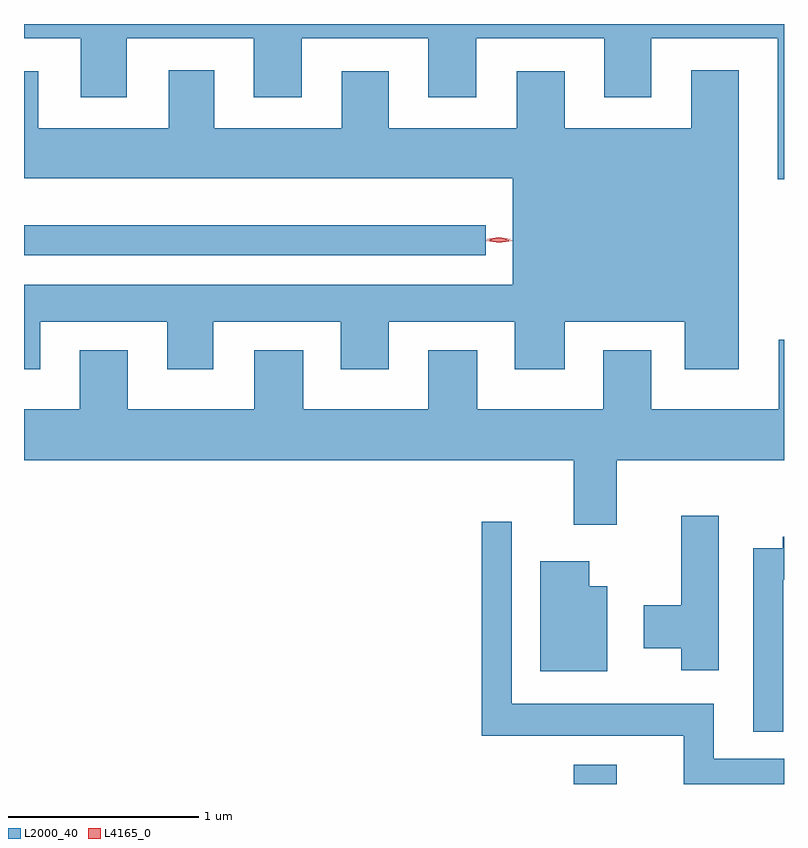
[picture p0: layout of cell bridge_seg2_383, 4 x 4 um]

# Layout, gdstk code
import gdstk
lib = gdstk.Library(unit=1e-6, precision=1e-09)
def R(c, l, rs):  # rectangles x0, y0, x1, y1
    for r in rs: c.add(gdstk.rectangle(r[:2], r[2:], *l))
def P(c, l, *ps):  # polygons
    for p in ps: c.add(gdstk.Polygon(p, *l))
L2000_40 = (2000, 40)
L4165_0 = (4165, 0)

bridge_seg2_383 = lib.new_cell('bridge_seg2_383')
R(bridge_seg2_383, L2000_40, [(631.351,1035.512,631.579,1035.614), (628.458,1038.296,630.888,1038.454)])
P(bridge_seg2_383, L2000_40, [(632.458,1039.512),(628.458,1039.512),(628.458,1039.436),(628.756,1039.436),(628.756,1039.126),(628.999,1039.126),(628.999,1039.436),(629.666,1039.436),(629.666,1039.126),(629.919,1039.126),(629.919,1039.436),(630.586,1039.436),(630.586,1039.126),(630.839,1039.126),(630.839,1039.436),(631.511,1039.436),(631.511,1039.126),(631.759,1039.126),(631.759,1039.436),(632.426,1039.436),(632.426,1038.696),(632.458,1038.696)],
  [(628.544,1037.946),(629.211,1037.946),(629.211,1037.696),(629.454,1037.696),(629.454,1037.946),(630.126,1037.946),(630.126,1037.696),(630.379,1037.696),(630.379,1037.946),(631.041,1037.946),(631.041,1037.696),(631.304,1037.696),(631.304,1037.946),(631.936,1037.946),(631.936,1037.696),(632.219,1037.696),(632.219,1039.269),(631.971,1039.269),(631.971,1038.964),(631.304,1038.964),(631.304,1039.264),(631.051,1039.264),(631.051,1038.964),(630.379,1038.964),(630.379,1039.264),(630.131,1039.264),(630.131,1038.964),(629.459,1038.964),(629.459,1039.269),(629.221,1039.269),(629.221,1038.964),(628.534,1038.964),(628.534,1039.264),(628.458,1039.264),(628.458,1038.701),(631.031,1038.701),(631.031,1038.139),(628.458,1038.139),(628.458,1037.696),(628.544,1037.696)],
  [(631.579,1037.216),(632.458,1037.216),(632.458,1037.849),(632.431,1037.849),(632.431,1037.484),(631.759,1037.484),(631.759,1037.794),(631.506,1037.794),(631.506,1037.484),(630.844,1037.484),(630.844,1037.794),(630.586,1037.794),(630.586,1037.484),(629.929,1037.484),(629.929,1037.794),(629.671,1037.794),(629.671,1037.484),(629.004,1037.484),(629.004,1037.794),(628.751,1037.794),(628.751,1037.484),(628.458,1037.484),(628.458,1037.216),(631.351,1037.216),(631.351,1036.876),(631.579,1036.876)],
  [(632.114,1036.924),(631.916,1036.924),(631.916,1036.454),(631.721,1036.454),(631.721,1036.226),(631.916,1036.226),(631.916,1036.111),(632.114,1036.111)],
  [(632.458,1035.644),(632.089,1035.644),(632.089,1035.934),(631.024,1035.934),(631.024,1036.892),(630.866,1036.892),(630.866,1035.766),(631.931,1035.766),(631.931,1035.512),(632.458,1035.512)],
  [(632.454,1036.586),(632.458,1036.586),(632.458,1036.814),(632.451,1036.814),(632.451,1036.754),(632.296,1036.754),(632.296,1035.787),(632.454,1035.787)],
  [(631.529,1036.554),(631.434,1036.554),(631.434,1036.684),(631.176,1036.684),(631.176,1036.106),(631.529,1036.106)])
P(bridge_seg2_383, L4165_0, [(630.956,1038.37),(630.894,1038.379),(630.893,1038.379),(630.894,1038.38),(630.956,1038.39),(631.018,1038.38),(631.018,1038.38),(631.018,1038.379)],
  [(630.958,1038.362),(630.89,1038.371),(630.889,1038.372),(630.89,1038.372),(630.959,1038.381),(631.027,1038.372),(631.028,1038.371),(631.027,1038.371)])

lib.write_gds('bridge_seg2_383.gds')
